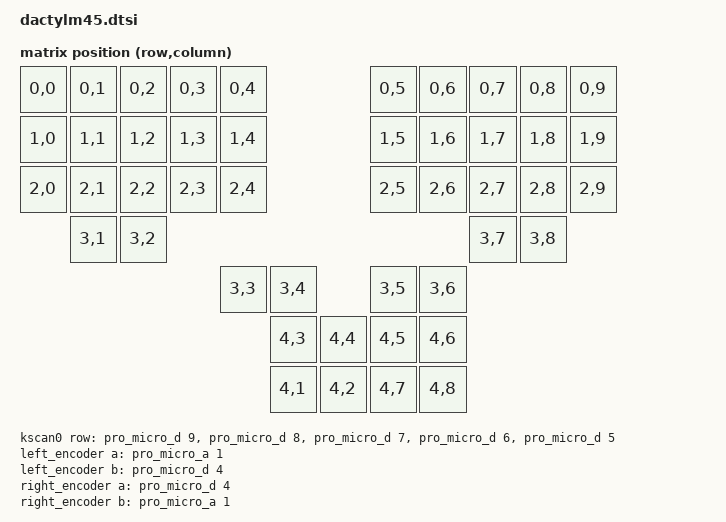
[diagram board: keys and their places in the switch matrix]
/*
 * Copyright (c) 2020 Pete Johanson
 *
 * SPDX-License-Identifier: MIT
 * 
 * referenced from ~/zmk/app/boards/shields/kyria/kyria.dtsi
 */

#include <dt-bindings/zmk/matrix_transform.h>

/ {
  chosen {
    zmk,kscan = &kscan0;
    zmk,matrix_transform = &default_transform;
  };

  default_transform: keymap_transform_0 {
    compatible = "zmk,matrix-transform";
    columns = <10>;
    rows = <5>;

    map = <
RC(0,0) RC(0,1) RC(0,2) RC(0,3) RC(0,4)                                   RC(0,5) RC(0,6) RC(0,7) RC(0,8) RC(0,9)
RC(1,0) RC(1,1) RC(1,2) RC(1,3) RC(1,4)                                   RC(1,5) RC(1,6) RC(1,7) RC(1,8) RC(1,9)
RC(2,0) RC(2,1) RC(2,2) RC(2,3) RC(2,4)                                   RC(2,5) RC(2,6) RC(2,7) RC(2,8) RC(2,9)
        RC(3,1) RC(3,2)                                                                   RC(3,7) RC(3,8)
                             RC(3,3) RC(3,4)                        RC(3,5) RC(3,6)
                                        RC(4,3) RC(4,4)   RC(4,5) RC(4,6)
                                        RC(4,1) RC(4,2)   RC(4,7) RC(4,8)
    >;
  };

  kscan0: kscan {
    compatible = "zmk,kscan-gpio-matrix";
    label = "KSCAN";

    diode-direction = "col2row";
    row-gpios
      = <&pro_micro_d 9 (GPIO_ACTIVE_HIGH | GPIO_PULL_DOWN)>
      , <&pro_micro_d 8 (GPIO_ACTIVE_HIGH | GPIO_PULL_DOWN)>
      , <&pro_micro_d 7 (GPIO_ACTIVE_HIGH | GPIO_PULL_DOWN)>
      , <&pro_micro_d 6 (GPIO_ACTIVE_HIGH | GPIO_PULL_DOWN)>
      , <&pro_micro_d 5 (GPIO_ACTIVE_HIGH | GPIO_PULL_DOWN)>
      ;

  };

  left_encoder: encoder_left {
    compatible = "alps,ec11";
    label = "LEFT_ENCODER";
    a-gpios = <&pro_micro_a 1 (GPIO_ACTIVE_HIGH | GPIO_PULL_UP)>;
    b-gpios = <&pro_micro_d 4 (GPIO_ACTIVE_HIGH | GPIO_PULL_UP)>;
    steps = <80>;
  };

  right_encoder: encoder_right {
    compatible = "alps,ec11";
    label = "RIGHT_ENCODER";
    a-gpios = <&pro_micro_d 4 (GPIO_ACTIVE_HIGH | GPIO_PULL_UP)>;
    b-gpios = <&pro_micro_a 1 (GPIO_ACTIVE_HIGH | GPIO_PULL_UP)>;
    steps = <80>;
  };

  sensors {
    compatible = "zmk,keymap-sensors";
    sensors = <&left_encoder &right_encoder>;
    triggers-per-rotation = <20>;
  };

};
